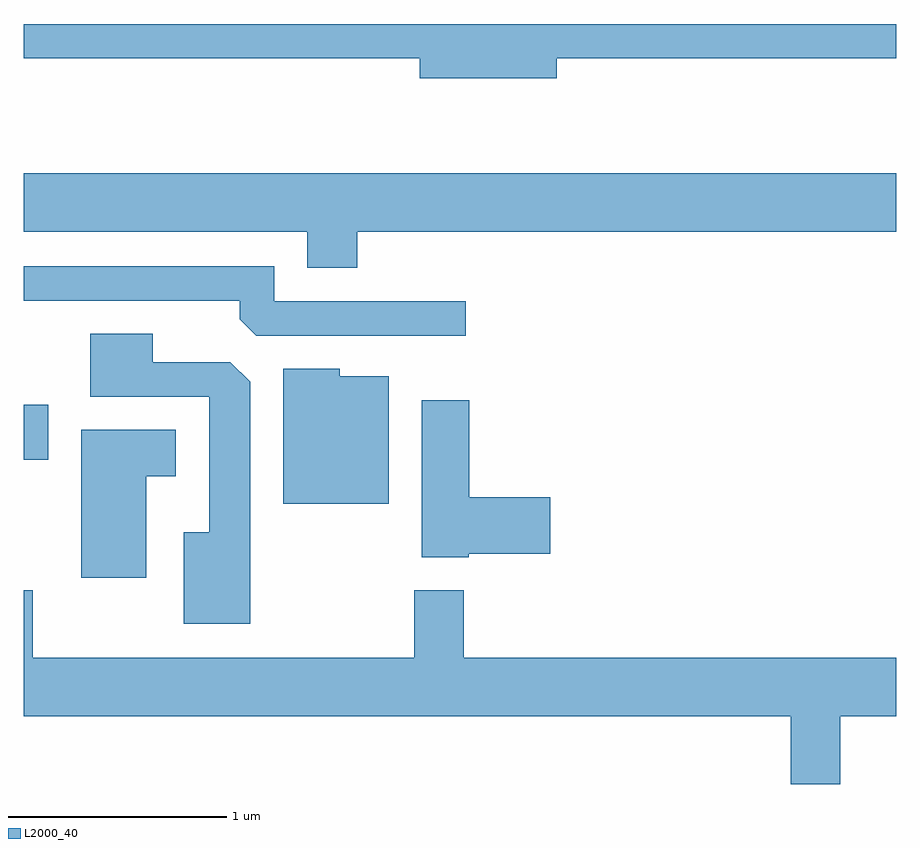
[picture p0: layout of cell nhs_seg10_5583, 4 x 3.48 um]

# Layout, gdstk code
import gdstk
lib = gdstk.Library(unit=1e-6, precision=1e-09)
def R(c, l, rs):  # rectangles x0, y0, x1, y1
    for r in rs: c.add(gdstk.rectangle(r[:2], r[2:], *l))
def P(c, l, *ps):  # polygons
    for p in ps: c.add(gdstk.Polygon(p, *l))
L2000_40 = (2000, 40)

nhs_seg10_5583 = lib.new_cell('nhs_seg10_5583')
R(nhs_seg10_5583, L2000_40, [(349.611,2146.171,349.724,2146.424)])
P(nhs_seg10_5583, L2000_40, [(352.054,2148.011),(353.611,2148.011),(353.611,2148.169),(349.611,2148.169),(349.611,2148.011),(351.426,2148.011),(351.426,2147.921),(352.054,2147.921)],
  [(351.139,2147.216),(353.611,2147.216),(353.611,2147.484),(349.611,2147.484),(349.611,2147.216),(350.911,2147.216),(350.911,2147.051),(351.139,2147.051)],
  [(351.638,2146.899),(350.759,2146.899),(350.759,2147.059),(349.611,2147.059),(349.611,2146.901),(350.601,2146.901),(350.601,2146.817),(350.677,2146.741),(351.638,2146.741)],
  [(350.649,2146.529),(350.559,2146.619),(350.204,2146.619),(350.204,2146.749),(349.916,2146.749),(349.916,2146.461),(350.461,2146.461),(350.461,2145.839),(350.346,2145.839),(350.346,2145.421),(350.649,2145.421)],
  [(351.284,2146.554),(351.059,2146.554),(351.059,2146.589),(350.801,2146.589),(350.801,2145.971),(351.284,2145.971)],
  [(351.65,2145.741),(352.024,2145.741),(352.024,2145.999),(351.654,2145.999),(351.654,2146.444),(351.436,2146.444),(351.436,2145.726),(351.65,2145.726)],
  [(350.174,2146.096),(350.309,2146.096),(350.309,2146.309),(349.876,2146.309),(349.876,2145.631),(350.174,2145.631)],
  [(353.354,2144.996),(353.611,2144.996),(353.611,2145.264),(351.629,2145.264),(351.629,2145.574),(351.401,2145.574),(351.401,2145.264),(349.654,2145.264),(349.654,2145.574),(349.611,2145.574),(349.611,2144.996),(353.126,2144.996),(353.126,2144.686),(353.354,2144.686)])

lib.write_gds('nhs_seg10_5583.gds')
